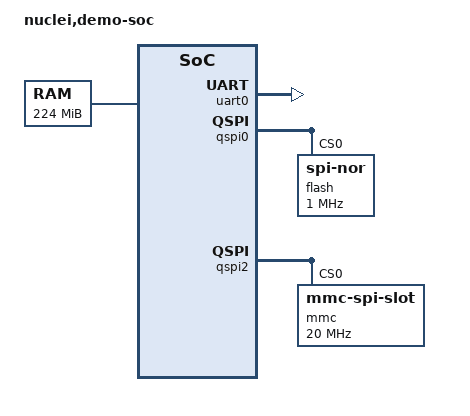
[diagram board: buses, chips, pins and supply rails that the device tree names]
/dts-v1/;

#ifndef TIMERCLK_FREQ
#define TIMERCLK_FREQ       32768
#endif
#ifndef CPUCLK_FREQ
#define CPUCLK_FREQ         16000000
#endif
#ifndef PERIPHCLK_FREQ
#define PERIPHCLK_FREQ      CPUCLK_FREQ
#endif

/ {
  #address-cells = <2>;
  #size-cells = <2>;
  compatible = "nuclei,demo-soc";
  model = "nuclei,demo-soc";

  chosen {
      bootargs = "earlycon=sbi console=ttyNUC0";
      stdout-path = "serial0";
  };

  aliases {
    serial0 = &uart0;
    serial1 = &uart1;
  };

  cpus {
    #address-cells = <1>;
    #size-cells = <0>;
    timebase-frequency = <TIMERCLK_FREQ>;
    cpu0: cpu@0 {
      device_type = "cpu";
      reg = <0>;
      status = "okay";
      compatible = "riscv";
      riscv,isa = "rv64imafdc";
      mmu-type = "riscv,sv39";
      clock-frequency = <CPUCLK_FREQ>;
      cpu0_intc: interrupt-controller {
        #interrupt-cells = <1>;
        interrupt-controller;
        compatible = "riscv,cpu-intc";
      };
    };
    cpu1: cpu@1 {
      device_type = "cpu";
      reg = <1>;
      status = "okay";
      compatible = "riscv";
      riscv,isa = "rv64imafdc";
      mmu-type = "riscv,sv39";
      clock-frequency = <CPUCLK_FREQ>;
      cpu1_intc: interrupt-controller {
        #interrupt-cells = <1>;
        interrupt-controller;
        compatible = "riscv,cpu-intc";
      };
    };
    cpu2: cpu@2 {
      device_type = "cpu";
      reg = <2>;
      status = "okay";
      compatible = "riscv";
      riscv,isa = "rv64imafdc";
      mmu-type = "riscv,sv39";
      clock-frequency = <CPUCLK_FREQ>;
      cpu2_intc: interrupt-controller {
        #interrupt-cells = <1>;
        interrupt-controller;
        compatible = "riscv,cpu-intc";
      };
    };
    cpu3: cpu@3 {
      device_type = "cpu";
      reg = <3>;
      status = "okay";
      compatible = "riscv";
      riscv,isa = "rv64imafdc";
      mmu-type = "riscv,sv39";
      clock-frequency = <CPUCLK_FREQ>;
      cpu3_intc: interrupt-controller {
        #interrupt-cells = <1>;
        interrupt-controller;
        compatible = "riscv,cpu-intc";
      };
    };
    cpu4: cpu@4 {
      device_type = "cpu";
      reg = <4>;
      status = "okay";
      compatible = "riscv";
      riscv,isa = "rv64imafdc";
      mmu-type = "riscv,sv39";
      clock-frequency = <CPUCLK_FREQ>;
      cpu4_intc: interrupt-controller {
        #interrupt-cells = <1>;
        interrupt-controller;
        compatible = "riscv,cpu-intc";
      };
    };
    cpu5: cpu@5 {
      device_type = "cpu";
      reg = <5>;
      status = "okay";
      compatible = "riscv";
      riscv,isa = "rv64imafdc";
      mmu-type = "riscv,sv39";
      clock-frequency = <CPUCLK_FREQ>;
      cpu5_intc: interrupt-controller {
        #interrupt-cells = <1>;
        interrupt-controller;
        compatible = "riscv,cpu-intc";
      };
    };
    cpu6: cpu@6 {
      device_type = "cpu";
      reg = <6>;
      status = "okay";
      compatible = "riscv";
      riscv,isa = "rv64imafdc";
      mmu-type = "riscv,sv39";
      clock-frequency = <CPUCLK_FREQ>;
      cpu6_intc: interrupt-controller {
        #interrupt-cells = <1>;
        interrupt-controller;
        compatible = "riscv,cpu-intc";
      };
    };
    cpu7: cpu@7 {
      device_type = "cpu";
      reg = <7>;
      status = "okay";
      compatible = "riscv";
      riscv,isa = "rv64imafdc";
      mmu-type = "riscv,sv39";
      clock-frequency = <CPUCLK_FREQ>;
      cpu7_intc: interrupt-controller {
        #interrupt-cells = <1>;
        interrupt-controller;
        compatible = "riscv,cpu-intc";
      };
    };
  };

  memory@A0000000 {
    device_type = "memory";
    reg = <0x0 0xA0000000 0x0 0xE000000>;
  };

  soc {
    #address-cells = <2>;
    #size-cells = <2>;
    compatible = "nuclei,demo-soc", "simple-bus";
    ranges;
  };

  /* Used for Uboot SBI Console */
  console {
    compatible = "sbi,console";
  };

  hfclk: hfclk {
    #clock-cells = <0>;
    compatible = "fixed-clock";
    clock-frequency = <PERIPHCLK_FREQ>;
    clock-output-names = "hfclk";
  };

  plic0: interrupt-controller@8000000 {
    #interrupt-cells = <1>;
    compatible = "riscv,plic0";
    interrupt-controller;
    riscv,ndev = <53>;
    interrupts-extended =
          <&cpu0_intc 11 &cpu0_intc 9
           &cpu1_intc 11 &cpu1_intc 9
           &cpu2_intc 11 &cpu2_intc 9
           &cpu3_intc 11 &cpu3_intc 9
           &cpu4_intc 11 &cpu4_intc 9
           &cpu5_intc 11 &cpu5_intc 9
           &cpu6_intc 11 &cpu6_intc 9
           &cpu7_intc 11 &cpu7_intc 9>;
    reg = <0x0 0x8000000 0x0 0x4000000>;
  };

  clint0: clint@2001000 {
    #interrupt-cells = <1>;
    compatible = "riscv,clint0";
    reg = <0x0 0x2001000 0x0 0xC000>;
    interrupts-extended =
          <&cpu0_intc 3 &cpu0_intc 7
           &cpu1_intc 3 &cpu1_intc 7
           &cpu2_intc 3 &cpu2_intc 7
           &cpu3_intc 3 &cpu3_intc 7
           &cpu4_intc 3 &cpu4_intc 7
           &cpu5_intc 3 &cpu5_intc 7
           &cpu6_intc 3 &cpu6_intc 7
           &cpu7_intc 3 &cpu7_intc 7>;
    clocks = <&hfclk>;
  };

  uart0: serial@10013000 {
    compatible = "nuclei,uart0";
    reg = <0x0 0x10013000 0x0 0x1000>;
    interrupt-parent = <&plic0>;
    interrupts = <33>;
    clocks = <&hfclk>;
    clock-frequency = <PERIPHCLK_FREQ>;
    status = "okay";
  };

  uart1: serial@10023000 {
    compatible = "nuclei,uart0";
    reg = <0x0 0x10023000 0x0 0x1000>;
    interrupt-parent = <&plic0>;
    interrupts = <34>;
    clocks = <&hfclk>;
    clock-frequency = <PERIPHCLK_FREQ>;
    status = "disabled";
  };

  qspi0: spi@10014000 {
    compatible = "nuclei,spi0";
    reg = <0x0 0x10014000 0x0 0x1000>;
    interrupt-parent = <&plic0>;
    interrupts = <35>;
    num-cs = <1>;
    #address-cells = <1>;
    #size-cells = <0>;
    clocks = <&hfclk>;
    status = "okay";

    flash@0 {
      compatible = "jedec,spi-nor";
      reg = <0>;
      spi-max-frequency = <1000000>;
      m25p,fast-read;
      spi-tx-bus-width = <1>;
      spi-rx-bus-width = <1>;
    };
  };

  qspi2: spi@10034000 {
    compatible = "nuclei,spi0";
    reg = <0x0 0x10034000 0x0 0x1000>;
    interrupt-parent = <&plic0>;
    interrupts = <37>;
    num-cs = <1>;
    #address-cells = <1>;
    #size-cells = <0>;
    clocks = <&hfclk>;
    status = "okay";

    mmc@0 {
      compatible = "mmc-spi-slot";
      reg = <0>;
      spi-max-frequency = <20000000>;
      voltage-ranges = <3300 3300>;
      disable-wp;
    };
  };

  gpio: gpio@10012000 {
    compatible = "nuclei,gpio0";
    interrupt-parent = <&plic0>;
    interrupts = <1>, <2>, <3>, <4>, <5>, <6>,
            <7>, <8>, <9>, <10>, <11>, <12>, <13>,
            <14>, <15>, <16>, <17>, <18>, <19>, <20>,
            <21>, <22>, <23>, <24>, <25>, <26>, <27>,
            <28>, <29>, <30>, <31>, <32>;
    reg = <0x0 0x10012000 0x0 0x1000>;
    gpio-controller;
    #gpio-cells = <2>;
    interrupt-controller;
    #interrupt-cells = <2>;
    clocks = <&hfclk>;
    status = "disabled";
  };
};
